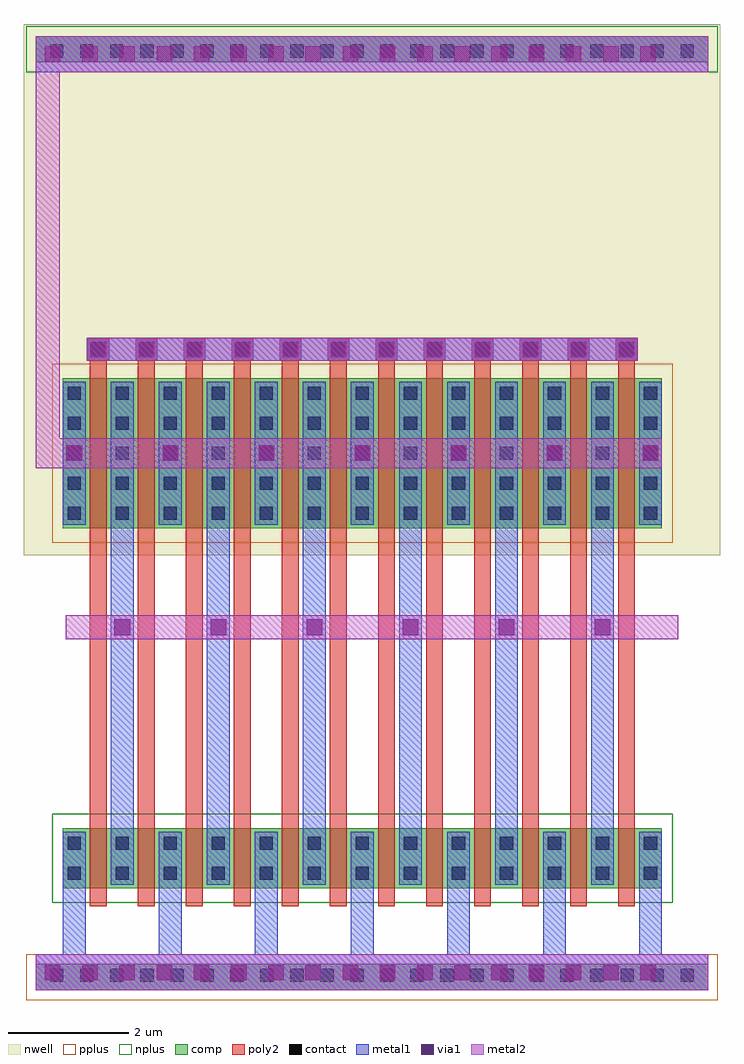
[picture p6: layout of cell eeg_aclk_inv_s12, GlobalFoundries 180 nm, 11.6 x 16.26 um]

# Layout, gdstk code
import gdstk
lib = gdstk.Library(unit=1e-6, precision=1e-09)
def R(c, l, rs):  # rectangles x0, y0, x1, y1
    for r in rs: c.add(gdstk.rectangle(r[:2], r[2:], *l))
def A(c, l, x, y, w, h, nx, ny, dx, dy):  # array of equal rectangles
    R(c, l, [(x+i*dx, y+j*dy, x+i*dx+w, y+j*dy+h) for i in range(nx) for j in range(ny)])
nwell = (21, 0)
comp = (22, 0)
poly2 = (30, 0)
pplus = (31, 0)
nplus = (32, 0)
contact = (33, 0)
metal1 = (34, 0)
via1 = (35, 0)
metal2 = (36, 0)

eeg_aclk_inv_s12 = lib.new_cell('eeg_aclk_inv_s12')
R(eeg_aclk_inv_s12, nwell, [(-0.2,7.25,11.4,16.1)])
R(eeg_aclk_inv_s12, comp, [(0,0,11.2,0.44), (0.45,1.7,10.43,2.7), (0.45,7.7,10.43,10.2), (0,15.46,11.2,15.9)])
A(eeg_aclk_inv_s12, poly2, 0.9, 1.4, 0.28, 6.3, 12, 1, 0.8, 0)
A(eeg_aclk_inv_s12, poly2, 0.9, 7.4, 0.28, 3.46, 12, 1, 0.8, 0)
A(eeg_aclk_inv_s12, poly2, 0.86, 10.5, 0.36, 0.36, 12, 1, 0.8, 0)
R(eeg_aclk_inv_s12, pplus, [(-0.16,-0.16,11.36,0.6), (0.27,7.46,10.61,10.44)])
R(eeg_aclk_inv_s12, nplus, [(0.27,1.46,10.61,2.94), (-0.16,15.3,11.36,16.06)])
A(eeg_aclk_inv_s12, contact, 0.24, 0.14, 0.22, 0.22, 22, 2, 0.5, 15.4)
A(eeg_aclk_inv_s12, contact, 0.53, 1.84, 0.22, 0.22, 13, 2, 0.8, 0.5)
A(eeg_aclk_inv_s12, contact, 0.53, 7.84, 0.22, 0.22, 13, 5, 0.8, 0.5)
A(eeg_aclk_inv_s12, contact, 0.93, 10.57, 0.22, 0.22, 12, 1, 0.8, 0)
A(eeg_aclk_inv_s12, metal1, 0.45, 0.3, 0.38, 2.34, 7, 1, 1.6, 0)
A(eeg_aclk_inv_s12, metal1, 1.25, 1.76, 0.38, 4.49, 6, 1, 1.6, 0)
A(eeg_aclk_inv_s12, metal1, 1.25, 5.85, 0.38, 4.29, 6, 1, 1.6, 0)
A(eeg_aclk_inv_s12, metal1, 0.45, 7.76, 0.38, 2.38, 7, 1, 1.6, 0)
R(eeg_aclk_inv_s12, metal1, [(0,0,11.2,0.6), (0,0,11.2,0.44), (0.85,10.49,10.03,10.87), (0,15.3,11.2,15.9), (0,15.46,11.2,15.9)])
A(eeg_aclk_inv_s12, via1, 0.15, 0.17, 0.26, 0.26, 17, 2, 0.62, 15.3)
A(eeg_aclk_inv_s12, via1, 0.51, 8.82, 0.26, 0.26, 7, 1, 1.6, 0)
A(eeg_aclk_inv_s12, via1, 0.91, 10.55, 0.26, 0.26, 12, 1, 0.8, 0)
R(eeg_aclk_inv_s12, via1, [(1.31,5.92,1.57,6.18), (1.31,5.92,1.57,6.18), (2.91,5.92,3.17,6.18), (2.91,5.92,3.17,6.18), (4.51,5.92,4.77,6.18), (4.51,5.92,4.77,6.18), (6.11,5.92,6.37,6.18), (6.11,5.92,6.37,6.18), (7.71,5.92,7.97,6.18), (7.71,5.92,7.97,6.18), (9.31,5.92,9.57,6.18), (9.31,5.92,9.57,6.18)])
R(eeg_aclk_inv_s12, metal2, [(0,0,11.2,0.6), (0.5,5.85,10.7,6.25), (0,8.7,10.43,9.2), (0,8.7,0.4,15.3), (0.85,10.49,10.03,10.87), (0,15.3,11.2,15.9)])

lib.write_gds('eeg_aclk_inv_s12.gds')
